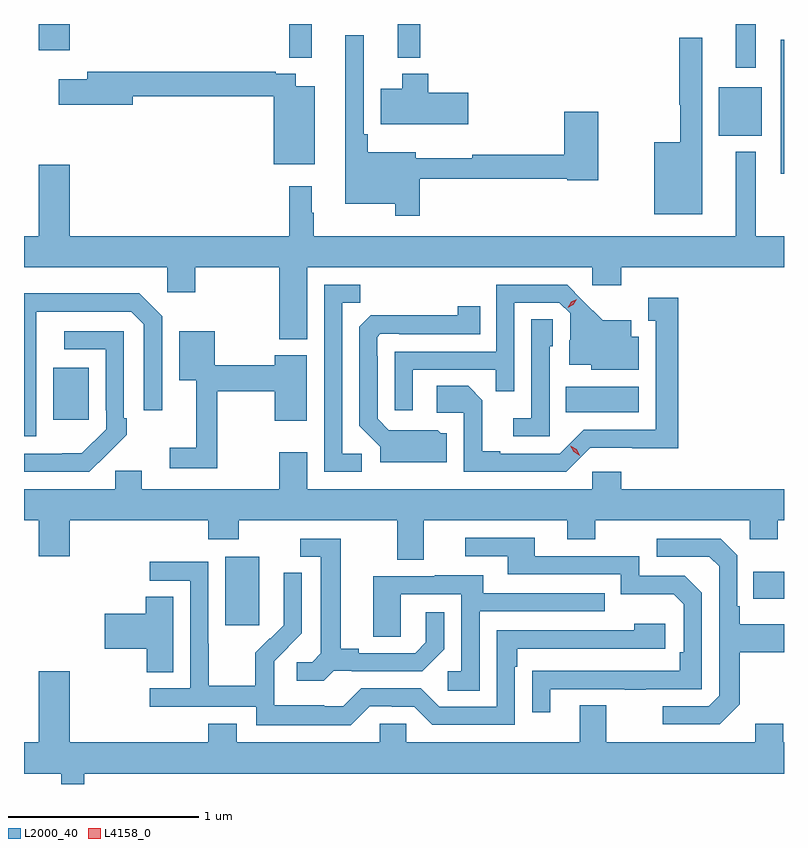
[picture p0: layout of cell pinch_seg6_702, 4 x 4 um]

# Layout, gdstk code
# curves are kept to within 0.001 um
import gdstk
lib = gdstk.Library(unit=1e-6, precision=1e-09)
def R(c, l, rs):  # rectangles x0, y0, x1, y1
    for r in rs: c.add(gdstk.rectangle(r[:2], r[2:], *l))
def P(c, l, *ps):  # polygons
    for p in ps: c.add(gdstk.Polygon(p, *l))
L2000_40 = (2000, 40)
L4158_0 = (4158, 0)

pinch_seg6_702 = lib.new_cell('pinch_seg6_702')
R(pinch_seg6_702, L2000_40, [(621.533,936.129,621.712,936.49), (624.313,936.269,624.474,936.409), (620.627,937.209,620.815,937.483), (623.326,937.25,623.71,937.384), (624.458,938.504,624.474,939.211), (624.131,938.705,624.358,938.959), (624.221,939.063,624.325,939.293), (621.871,939.115,621.989,939.293), (622.442,939.116,622.559,939.293), (620.552,939.156,620.716,939.293)])
P(pinch_seg6_702, L2000_40, [(622.556,938.478),(623.334,938.478),(623.334,938.47),(623.496,938.47),(623.496,938.83),(623.318,938.83),(623.318,938.606),(622.833,938.606),(622.833,938.587),(622.537,938.587),(622.537,938.617),(622.283,938.617),(622.283,938.713),(622.263,938.713),(622.263,939.235),(622.166,939.235),(622.166,938.348),(622.428,938.348),(622.428,938.283),(622.556,938.283)],
  [(624.043,939.22),(623.922,939.22),(623.922,938.867),(623.929,938.867),(623.929,938.671),(623.792,938.671),(623.792,938.291),(624.043,938.291)],
  [(622.003,938.965),(621.904,938.965),(621.904,939.03),(621.8,939.03),(621.8,939.043),(620.807,939.043),(620.807,939.001),(620.658,939.001),(620.658,938.867),(621.046,938.867),(621.046,938.914),(621.788,938.914),(621.788,938.555),(622.003,938.555)],
  [(622.813,938.931),(622.601,938.931),(622.601,939.031),(622.466,939.031),(622.466,938.953),(622.352,938.953),(622.352,938.765),(622.813,938.765)],
  [(621.964,938.012),(623.466,938.012),(623.466,937.917),(623.618,937.917),(623.618,938.012),(624.474,938.012),(624.474,938.176),(624.325,938.176),(624.325,938.62),(624.221,938.62),(624.221,938.176),(622,938.176),(622,938.3),(621.988,938.3),(621.988,938.44),(621.871,938.44),(621.871,938.176),(620.716,938.176),(620.716,938.551),(620.552,938.551),(620.552,938.176),(620.474,938.176),(620.474,938.012),(621.228,938.012),(621.228,937.881),(621.375,937.881),(621.375,938.012),(621.817,938.012),(621.817,937.634),(621.964,937.634)],
  [(622.521,937.473),(622.957,937.473),(622.957,937.36),(623.055,937.36),(623.055,937.827),(623.292,937.827),(623.349,937.77),(623.349,937.628),(623.345,937.628),(623.345,937.499),(623.46,937.499),(623.46,937.472),(623.71,937.472),(623.71,937.648),(623.671,937.648),(623.671,937.735),(623.519,937.735),(623.332,937.92),(622.959,937.92),(622.959,937.569),(622.425,937.569),(622.425,937.26),(622.521,937.26)],
  [(622.252,937.032),(622.149,937.032),(622.149,937.825),(622.245,937.825),(622.245,937.92),(622.053,937.92),(622.053,936.936),(622.252,936.936)],
  [(620.538,937.579),(620.539,937.579),(620.539,937.779),(621.039,937.779),(621.105,937.713),(621.105,937.26),(621.201,937.26),(621.201,937.755),(621.08,937.876),(620.474,937.876),(620.474,937.122),(620.538,937.122)],
  [(623.454,937.062),(623.917,937.061),(623.917,937.852),(623.759,937.852),(623.759,937.731),(623.798,937.731),(623.798,937.158),(623.421,937.158),(623.295,937.032),(622.981,937.032),(622.981,937.045),(622.887,937.045),(622.887,937.312),(622.811,937.388),(622.647,937.388),(622.647,937.248),(622.788,937.248),(622.788,936.936),(623.328,936.936)],
  [(622.699,937.14),(622.668,937.14),(622.652,937.156),(622.395,937.155),(622.335,937.215),(622.335,937.544),(622.332,937.544),(622.332,937.644),(622.35,937.662),(622.45,937.662),(622.45,937.659),(622.874,937.659),(622.874,937.807),(622.756,937.807),(622.756,937.76),(622.298,937.759),(622.239,937.7),(622.239,937.178),(622.349,937.068),(622.349,936.986),(622.699,936.986)],
  [(623.241,937.596),(623.256,937.596),(623.256,937.739),(623.145,937.739),(623.145,937.219),(623.049,937.219),(623.049,937.122),(623.241,937.122)],
  [(620.909,937.027),(620.91,937.026),(621.015,937.131),(621.015,937.219),(621,937.219),(621,937.677),(620.685,937.677),(620.685,937.581),(620.904,937.581),(620.904,937.261),(620.907,937.261),(620.907,937.161),(620.779,937.033),(620.474,937.032),(620.474,936.936),(620.818,936.936)],
  [(621.49,937.36),(621.794,937.36),(621.794,937.206),(621.961,937.206),(621.961,937.549),(621.794,937.549),(621.794,937.496),(621.477,937.496),(621.477,937.675),(621.29,937.675),(621.29,937.418),(621.38,937.418),(621.38,937.063),(621.24,937.063),(621.24,936.954),(621.49,936.954)],
  [(623.618,936.937),(623.466,936.937),(623.466,936.844),(621.964,936.844),(621.964,937.039),(621.817,937.039),(621.817,936.844),(621.094,936.844),(621.094,936.942),(620.955,936.942),(620.955,936.844),(620.474,936.844),(620.474,936.68),(620.552,936.68),(620.552,936.492),(620.716,936.492),(620.716,936.68),(621.443,936.68),(621.443,936.581),(621.603,936.581),(621.603,936.68),(622.439,936.68),(622.439,936.472),(622.579,936.472),(622.579,936.68),(623.333,936.68),(623.333,936.581),(623.481,936.581),(623.481,936.68),(624.294,936.68),(624.294,936.581),(624.441,936.581),(624.441,936.68),(624.474,936.68),(624.474,936.844),(623.618,936.844)],
  [(623.245,935.793),(623.635,935.793),(623.635,935.788),(623.747,935.788),(623.747,935.793),(624.042,935.793),(624.042,936.3),(623.952,936.39),(623.712,936.39),(623.712,936.492),(623.161,936.492),(623.161,936.588),(622.797,936.588),(622.797,936.492),(623.021,936.492),(623.021,936.396),(623.616,936.396),(623.616,936.293),(623.893,936.293),(623.946,936.24),(623.946,935.986),(623.926,935.986),(623.926,935.889),(623.149,935.888),(623.149,935.67),(623.245,935.67)],
  [(624.241,935.713),(624.241,935.986),(624.474,935.986),(624.474,936.133),(624.241,936.133),(624.241,936.229),(624.228,936.229),(624.228,936.498),(624.141,936.585),(623.805,936.585),(623.805,936.489),(624.081,936.489),(624.132,936.438),(624.132,935.757),(624.078,935.703),(623.835,935.703),(623.835,935.607),(624.135,935.607)],
  [(622.104,935.889),(622.198,935.889),(622.198,935.886),(622.57,935.886),(622.686,936.002),(622.686,936.196),(622.589,936.196),(622.589,936.039),(622.532,935.982),(622.237,935.982),(622.237,936.005),(622.141,936.005),(622.141,936.585),(621.927,936.585),(621.927,936.489),(622.037,936.489),(622.037,935.981),(621.99,935.934),(621.909,935.934),(621.909,935.837),(622.052,935.837)],
  [(622.293,935.703),(622.409,935.703),(622.409,935.7),(622.527,935.7),(622.623,935.604),(623.058,935.604),(623.058,935.909),(623.071,935.909),(623.071,936.006),(623.848,936.006),(623.848,936.136),(623.687,936.136),(623.687,936.102),(622.962,936.102),(622.962,935.7),(622.659,935.7),(622.563,935.796),(622.248,935.796),(622.155,935.703),(622.055,935.703),(622.055,935.707),(621.792,935.707),(621.792,935.841),(621.79,935.841),(621.79,935.938),(621.936,936.086),(621.936,936.404),(621.84,936.404),(621.84,936.25),(621.842,936.25),(621.842,936.128),(621.771,936.057),(621.768,936.06),(621.691,935.983),(621.691,935.809),(621.447,935.809),(621.447,936.032),(621.444,936.032),(621.444,936.462),(621.135,936.462),(621.135,936.363),(621.348,936.363),(621.348,935.796),(621.135,935.796),(621.135,935.7),(621.696,935.7),(621.696,935.603),(622.193,935.603)],
  [(622.872,936.201),(623.531,936.201),(623.531,936.297),(622.891,936.297),(622.891,936.391),(622.637,936.391),(622.637,936.387),(622.313,936.387),(622.313,936.067),(622.458,936.067),(622.458,936.291),(622.776,936.291),(622.776,935.886),(622.704,935.886),(622.704,935.785),(622.872,935.785)],
  [(621.259,936.278),(621.116,936.278),(621.116,936.188),(620.898,936.188),(620.898,936.005),(621.121,936.005),(621.121,935.881),(621.259,935.881)],
  [(624.474,935.512),(624.471,935.512),(624.471,935.611),(624.323,935.611),(624.323,935.512),(623.539,935.512),(623.539,935.707),(623.399,935.707),(623.399,935.512),(622.485,935.512),(622.485,935.61),(622.347,935.61),(622.347,935.512),(621.595,935.512),(621.595,935.611),(621.443,935.611),(621.443,935.512),(620.716,935.512),(620.716,935.887),(620.552,935.887),(620.552,935.512),(620.474,935.512),(620.474,935.348),(620.669,935.348),(620.669,935.293),(620.791,935.293),(620.791,935.348),(624.474,935.348)])
P(pinch_seg6_702, L4158_0, [(623.398,937.021),(623.367,937.041),(623.35,937.074),(623.35,937.074),(623.35,937.074),(623.382,937.054),(623.399,937.021),(623.399,937.021)],
  [(623.335,937.8),(623.335,937.8),(623.353,937.83),(623.384,937.845),(623.384,937.845),(623.384,937.844),(623.366,937.815),(623.335,937.8)])

lib.write_gds('pinch_seg6_702.gds')
